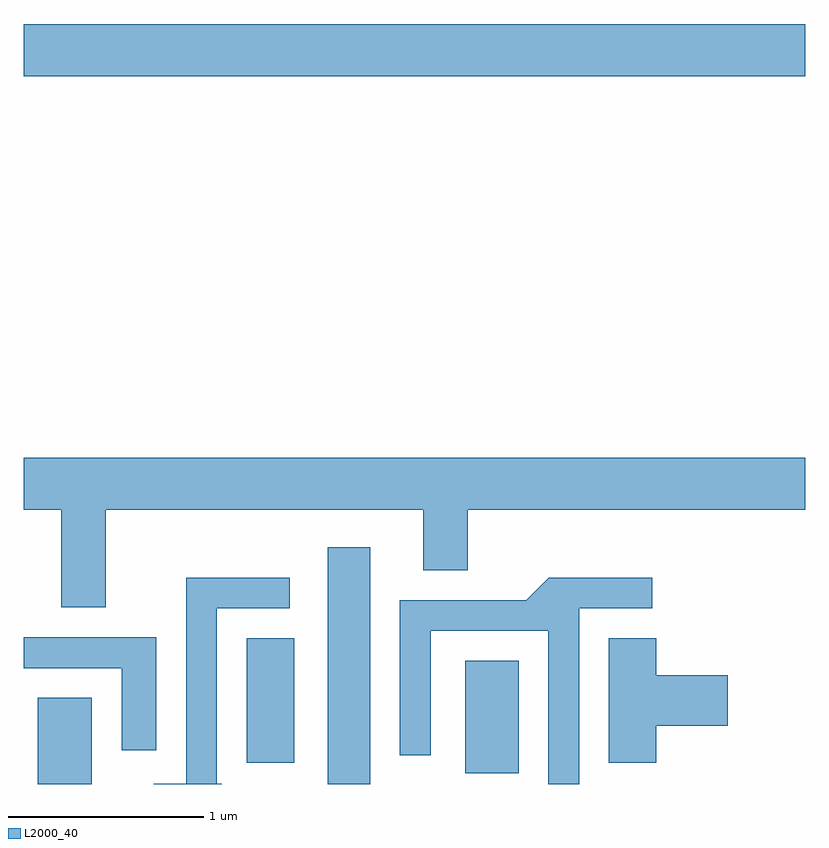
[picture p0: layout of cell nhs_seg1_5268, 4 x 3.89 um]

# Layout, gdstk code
import gdstk
lib = gdstk.Library(unit=1e-6, precision=1e-09)
def R(c, l, rs):  # rectangles x0, y0, x1, y1
    for r in rs: c.add(gdstk.rectangle(r[:2], r[2:], *l))
def P(c, l, *ps):  # polygons
    for p in ps: c.add(gdstk.Polygon(p, *l))
L2000_40 = (2000, 40)

nhs_seg1_5268 = lib.new_cell('nhs_seg1_5268')
R(nhs_seg1_5268, L2000_40, [(343.681,913.712,343.959,914.154), (345.166,913.712,345.384,914.924), (345.871,913.766,346.144,914.344), (344.751,913.821,344.994,914.459), (343.611,917.336,347.611,917.604)])
P(nhs_seg1_5268, L2000_40, [(344.029,915.116),(345.656,915.116),(345.656,914.806),(345.884,914.806),(345.884,915.116),(347.611,915.116),(347.611,915.384),(343.611,915.384),(343.611,915.116),(343.801,915.116),(343.801,914.616),(344.029,914.616)],
  [(344.624,913.714),(344.599,913.714),(344.599,914.611),(344.973,914.611),(344.973,914.769),(344.441,914.769),(344.441,913.714),(344.276,913.714),(344.276,913.712),(344.624,913.712)],
  [(346.454,914.611),(346.828,914.611),(346.828,914.769),(346.299,914.769),(346.184,914.654),(345.536,914.654),(345.536,913.858),(345.694,913.858),(345.694,914.496),(346.296,914.496),(346.296,913.712),(346.454,913.712)],
  [(344.289,914.464),(343.611,914.464),(343.611,914.306),(344.111,914.306),(344.111,913.886),(344.289,913.886)],
  [(346.849,914.011),(347.214,914.011),(347.214,914.269),(346.849,914.269),(346.849,914.459),(346.606,914.459),(346.606,913.821),(346.849,913.821)])

lib.write_gds('nhs_seg1_5268.gds')
